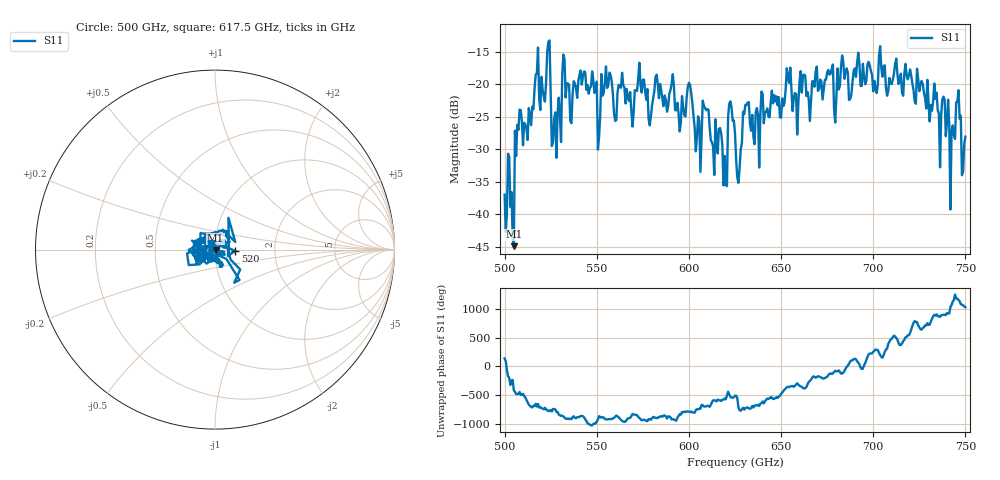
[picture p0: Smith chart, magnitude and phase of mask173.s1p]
!Created with skrf (http://scikit-rf.org).
# GHz S MA R 50.0
!freq magS11 angS11
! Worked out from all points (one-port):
!   401 points, 500 GHz to 750 GHz, reference 50 ohm
!   lowest |S11| = -44.9 dB at 505 GHz (marker M1), VSWR 1.01, Z = 50.3 - j0.471 ohm
!   |S11| at or under -10 dB: start of sweep to end of sweep
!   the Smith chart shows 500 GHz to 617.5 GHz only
!   S11 on the Smith chart (normalised r, x): 500 GHz: 0.98, +0.02; 520 GHz: 1.26, -0.02; 617.5 GHz: 0.96, +0.07
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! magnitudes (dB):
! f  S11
! 500 GHz  -37.0
! 505 GHz  -44.9
! 508.1 GHz  -23.9
! 520 GHz  -18.8
! 523.8 GHz  -13.4
! 526.9 GHz  -25.4
! 531.2 GHz  -18.5
! 548.8 GHz  -21.3
! 550.6 GHz  -30.0
! 562.5 GHz  -20.4
! 593.8 GHz  -22.8
! 600 GHz  -19.8
! 605 GHz  -24.9
! 608.8 GHz  -23.6
! 617.5 GHz  -27.5
! 619.4 GHz  -31.0
! 622.5 GHz  -22.6
! 625 GHz  -27.5
! 626.9 GHz  -35.1
! 631.2 GHz  -23.2
! 636.9 GHz  -23.6
! 656.2 GHz  -24.1
! 687.5 GHz  -22.3
! 718.8 GHz  -19.2
! 739.4 GHz  -28.0
! 743.1 GHz  -26.3
! 746.2 GHz  -20.9
! 750 GHz  -28.0
